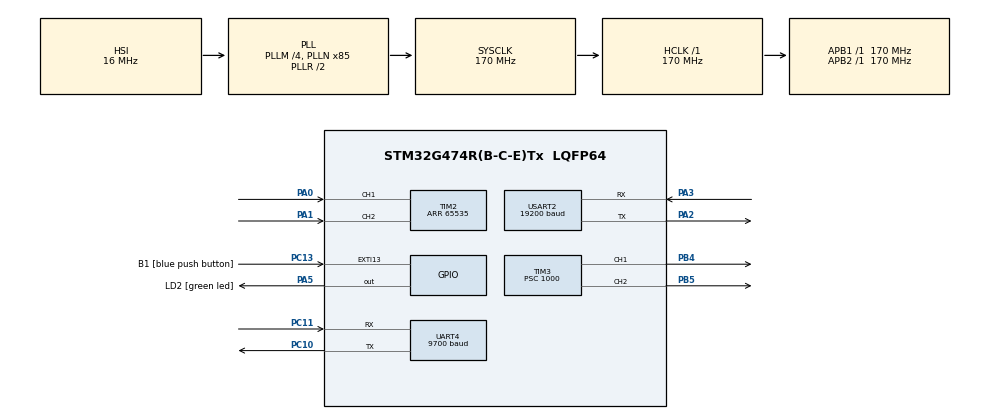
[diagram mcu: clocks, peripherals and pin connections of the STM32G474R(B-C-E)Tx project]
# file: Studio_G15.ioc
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ARM.CMSIS-DSP.1.15.0.CMSISJjDSP=Source
ARM.CMSIS.6.0.0.CMSISJjCORE=true
Dma.Request0=USART2_TX
Dma.Request1=USART2_RX
Dma.USART2_RX.1.Direction=DMA_PERIPH_TO_MEMORY
Dma.USART2_RX.1.EventEnable=DISABLE
Dma.USART2_RX.1.Instance=DMA1_Channel2
Dma.USART2_RX.1.MemDataAlignment=DMA_MDATAALIGN_BYTE
Dma.USART2_RX.1.MemInc=DMA_MINC_ENABLE
Dma.USART2_RX.1.Mode=DMA_NORMAL
Dma.USART2_RX.1.PeriphDataAlignment=DMA_PDATAALIGN_BYTE
Dma.USART2_RX.1.PeriphInc=DMA_PINC_DISABLE
Dma.USART2_RX.1.Polarity=HAL_DMAMUX_REQ_GEN_RISING
Dma.USART2_RX.1.Priority=DMA_PRIORITY_LOW
Dma.USART2_RX.1.RequestNumber=1
Dma.USART2_RX.1.SignalID=NONE
Dma.USART2_RX.1.SyncEnable=DISABLE
Dma.USART2_RX.1.SyncPolarity=HAL_DMAMUX_SYNC_NO_EVENT
Dma.USART2_RX.1.SyncRequestNumber=1
Dma.USART2_RX.1.SyncSignalID=NONE
Dma.USART2_TX.0.Direction=DMA_MEMORY_TO_PERIPH
Dma.USART2_TX.0.EventEnable=DISABLE
Dma.USART2_TX.0.Instance=DMA1_Channel1
Dma.USART2_TX.0.MemDataAlignment=DMA_MDATAALIGN_BYTE
Dma.USART2_TX.0.MemInc=DMA_MINC_ENABLE
Dma.USART2_TX.0.Mode=DMA_NORMAL
Dma.USART2_TX.0.PeriphDataAlignment=DMA_PDATAALIGN_BYTE
Dma.USART2_TX.0.PeriphInc=DMA_PINC_DISABLE
Dma.USART2_TX.0.Polarity=HAL_DMAMUX_REQ_GEN_RISING
Dma.USART2_TX.0.Priority=DMA_PRIORITY_LOW
Dma.USART2_TX.0.RequestNumber=1
Dma.USART2_TX.0.SignalID=NONE
Dma.USART2_TX.0.SyncEnable=DISABLE
Dma.USART2_TX.0.SyncPolarity=HAL_DMAMUX_SYNC_NO_EVENT
Dma.USART2_TX.0.SyncRequestNumber=1
Dma.USART2_TX.0.SyncSignalID=NONE
Mcu.Family=STM32G4
Mcu.Name=STM32G474R(B-C-E)Tx
Mcu.Package=LQFP64
NVIC.DMA1_Channel1_IRQn=true\:0\:0\:false\:false\:true\:false\:true\:true
NVIC.DMA1_Channel2_IRQn=true\:0\:0\:false\:false\:true\:false\:true\:true
NVIC.EXTI15_10_IRQn=true\:0\:0\:false\:false\:true\:true\:true\:true
NVIC.PriorityGroup=NVIC_PRIORITYGROUP_4
NVIC.TIM1_UP_TIM16_IRQn=true\:0\:0\:false\:false\:true\:true\:true\:true
NVIC.TIM4_IRQn=true\:0\:0\:false\:false\:true\:true\:true\:true
NVIC.TIM5_IRQn=true\:0\:0\:false\:false\:true\:true\:true\:true
NVIC.USART2_IRQn=true\:0\:0\:false\:false\:true\:true\:true\:true
PA0.Signal=S_TIM2_CH1
PA1.Signal=S_TIM2_CH2
PA13.GPIO_Label=T_SWDIO
PA13.Mode=Serial_Wire
PA13.Signal=SYS_JTMS-SWDIO
PA14.GPIO_Label=T_SWCLK
PA14.Mode=Serial_Wire
PA14.Signal=SYS_JTCK-SWCLK
PA2.Mode=Asynchronous
PA2.Signal=USART2_TX
PA3.Mode=Asynchronous
PA3.Signal=USART2_RX
PA5.GPIO_Label=LD2 [green led]
PA5.Signal=GPIO_Output
PB3.GPIO_Label=T_SWO
PB3.Signal=SYS_JTDO-SWO
PB4.Signal=S_TIM3_CH1
PB5.Signal=S_TIM3_CH2
PC10.Mode=Asynchronous
PC10.Signal=UART4_TX
PC11.Mode=Asynchronous
PC11.Signal=UART4_RX
PC13.GPIO_Label=B1 [blue push button]
PC13.Signal=GPXTI13
PC14-OSC32_IN.Mode=LSE-External-Oscillator
PC14-OSC32_IN.Signal=RCC_OSC32_IN
PC15-OSC32_OUT.Mode=LSE-External-Oscillator
PC15-OSC32_OUT.Signal=RCC_OSC32_OUT
PF0-OSC_IN.Mode=HSE-External-Oscillator
PF0-OSC_IN.Signal=RCC_OSC_IN
PF1-OSC_OUT.Mode=HSE-External-Oscillator
PF1-OSC_OUT.Signal=RCC_OSC_OUT
ProjectManager.HeapSize=0x200
ProjectManager.StackSize=0x400
ProjectManager.TargetToolchain=STM32CubeIDE
RCC.ADC12Freq_Value=170000000
RCC.ADC345Freq_Value=170000000
RCC.AHBFreq_Value=170000000
RCC.APB1Freq_Value=170000000
RCC.APB1TimFreq_Value=170000000
RCC.APB2Freq_Value=170000000
RCC.APB2TimFreq_Value=170000000
RCC.CortexFreq_Value=170000000
RCC.EXTERNAL_CLOCK_VALUE=12288000
RCC.HCLKFreq_Value=170000000
RCC.HSE_VALUE=24000000
RCC.HSI48_VALUE=48000000
RCC.HSI_VALUE=16000000
RCC.PLLM=RCC_PLLM_DIV4
RCC.PLLN=85
RCC.RTCClockSelection=RCC_RTCCLKSOURCE_LSE
RCC.SYSCLKFreq_VALUE=170000000
RCC.SYSCLKSource=RCC_SYSCLKSOURCE_PLLCLK
RCC.USBFreq_Value=170000000
RCC.VCOOutputFreq_Value=340000000
SH.S_TIM2_CH1.0=TIM2_CH1,Encoder_Interface
SH.S_TIM2_CH2.0=TIM2_CH2,Encoder_Interface
SH.S_TIM3_CH1.0=TIM3_CH1,PWM Generation1 CH1
SH.S_TIM3_CH2.0=TIM3_CH2,PWM Generation2 CH2
TIM16.PeriodNoDither=1145
TIM16.Prescaler=169
TIM2.EncoderMode=TIM_ENCODERMODE_TI12
TIM2.PeriodNoDither=65535
TIM3.Channel-PWM\ Generation1\ CH1=TIM_CHANNEL_1
TIM3.Channel-PWM\ Generation2\ CH2=TIM_CHANNEL_2
TIM3.PeriodNoDither=169
TIM3.Prescaler=1000
TIM4.PeriodNoDither=19999
TIM4.Prescaler=1699
TIM5.Prescaler=169
UART4.BaudRate=9700
UART4.RXFIFOThreshold=RXFIFO_THRESHOLD_FULL
USART2.BaudRate=19200
USART2.Parity=PARITY_EVEN
USART2.VirtualMode-Asynchronous=VM_ASYNC
USART2.WordLength=WORDLENGTH_9B
VP_ARM.CMSIS-DSP_VS_CMSISJjDSP_1.15.0_1.15.0.Mode=CMSISJjDSP
VP_ARM.CMSIS_VS_CMSISJjCORE_6.0.0_6.0.0.Mode=CMSISJjCORE
VP_SYS_VS_DBSignals.Mode=DisableDeadBatterySignals
VP_TIM16_VS_ClockSourceINT.Mode=Enable_Timer
VP_TIM16_VS_OPM.Mode=OPM_bit
VP_TIM3_VS_ClockSourceINT.Mode=Internal
VP_TIM4_VS_ClockSourceINT.Mode=Internal
VP_TIM5_VS_ClockSourceINT.Mode=Internal
board=NUCLEO-G474RE

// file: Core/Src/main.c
/* USER CODE BEGIN Header */
/**
  ******************************************************************************
  * @file           : main.c
  * @brief          : Main program body
  ******************************************************************************
  * @attention
  *
  * Copyright (c) 2024 STMicroelectronics.
  * All rights reserved.
  *
  * This software is licensed under terms that can be found in the LICENSE file
  * in the root directory of this software component.
  * If no LICENSE file comes with this software, it is provided AS-IS.
  *
  ******************************************************************************
  */
/* USER CODE END Header */
#include "main.h"

/* USER CODE BEGIN Includes */
#include "arm_math.h"
#include "ModBusRTU.h"
#include "BaseSystem.h"

/* USER CODE END Includes */

TIM_HandleTypeDef htim2;
TIM_HandleTypeDef htim3;
TIM_HandleTypeDef htim4;
TIM_HandleTypeDef htim5;
TIM_HandleTypeDef htim16;

UART_HandleTypeDef huart4;
UART_HandleTypeDef huart2;
DMA_HandleTypeDef hdma_usart2_tx;
DMA_HandleTypeDef hdma_usart2_rx;

/* USER CODE BEGIN PV */
ModbusHandleTypedef hmodbus;
u16u8_t registerFrame[200];

int num[10]= {48,49,50,51,52,53,54,55,56,57};
int count = 1;
typedef struct{
	uint8_t ps2RX[10];
	int digit;
	int gain[3];
	int ps2Y;
	int ps2YPos;
	int floor[5];
	int r[6];
	int l[6];
	int pwmOut;
	int mode;
	int stop;
	int counts;
//	int ps2X;
//	int ps2XPos;
//	int H[];
}Ps2s;
Ps2s ps2;

uint8_t data_packet[4] = {0x45, 0,0, 0x0A};
float pwm = 41.67;
typedef struct{
	uint32_t start;
	uint32_t i;
	uint32_t j;
	uint32_t velo[34000];
}Idens;
Idens iden;

typedef struct{
	// for record New / Old value to calculate dx / dt
	uint32_t Position[2];
	uint64_t TimeStamp[2];
	float QEIPostion_1turn;
	int QEIAngularVelocity;
}QEI_StructureTypeDef;
QEI_StructureTypeDef QEIdata = {0};
uint64_t _micros = 0;
enum{
	NEW,OLD
};
/* USER CODE END PV */

void SystemClock_Config(void);
static void MX_GPIO_Init(void);
static void MX_DMA_Init(void);
static void MX_TIM2_Init(void);
static void MX_TIM3_Init(void);
static void MX_TIM5_Init(void);
static void MX_UART4_Init(void);
static void MX_TIM4_Init(void);
static void MX_USART2_UART_Init(void);
static void MX_TIM16_Init(void);
/* USER CODE BEGIN PFP */
uint64_t micro();
void QEIEncoderPosVel_Update();
void SystemIden();
void QEIEncoder();
void PS2X_Reader();
/* USER CODE END PFP */

int main(void)
{

  /* MCU Configuration--------------------------------------------------------*/

  /* Reset of all peripherals, Initializes the Flash interface and the Systick. */
  HAL_Init();

  /* Configure the system clock */
  SystemClock_Config();

  /* Initialize all configured peripherals */
  MX_GPIO_Init();
  MX_DMA_Init();
  MX_TIM2_Init();
  MX_TIM3_Init();
  MX_TIM5_Init();
  MX_UART4_Init();
  MX_TIM4_Init();
  MX_USART2_UART_Init();
  MX_TIM16_Init();
  /* USER CODE BEGIN 2 */
  HAL_TIM_Base_Start_IT(&htim4);
  HAL_TIM_Base_Start_IT(&htim5);
  hmodbus.huart = &huart2;
  hmodbus.htim = &htim16;
  hmodbus.slaveAddress = 0x15;
  hmodbus.RegisterSize =200;
  Modbus_init(&hmodbus, registerFrame);
  /* USER CODE END 2 */

  /* Infinite loop */
  while (1)
  {

    /* USER CODE BEGIN 3 */
	  //Modbus
	  easyCase();
	  switch(base.bS){
	  case 1:
		  base.bStatus = 4;
		  SetShelves();
		  base.bS = 0;
		  break;
	  case 2:
		  base.bStatus = 4;
		  SetHome();
		  base.bS = 0;
		  break;
	  case 4:
		  base.bStatus = 4;
		  RunJog();
		  base.bS = 0;
		  break;
	  case 8:
		  base.bStatus = 8;
		  RunPoint();
		  base.bS = 0;
		  break;
	  default:
		  registerFrame[0x01].U16 = 0;;
	  }

	  switch(base.vS){
	  case 0:
		  base.Vacuum = 0;
		  break;
	  case 1:
		  base.Vacuum = 1;
		  break;
	  }

	  switch(base.gmS){
	  case 0:
		  base.Gripper = 0;
		  break;
	  case 1:
		  base.Gripper = 1;
		  break;
	  }

	  Modbus_Protocal_Worker();
	  Routine();
	  //--

	  //Ps2
	  HAL_UART_Receive(&huart4,ps2.ps2RX, 10 ,10);
	  if(ps2.ps2RX[0] == 74){
		  ps2.stop = 1;
	  }
	  if (ps2.stop == 1 && ps2.ps2RX[0] == 75){
		  ps2.stop = 0;
		  __HAL_TIM_SET_COMPARE(&htim3, TIM_CHANNEL_1, 0);		//Stop
		  __HAL_TIM_SET_COMPARE(&htim3, TIM_CHANNEL_2, 0);
		  ps2.pwmOut = 0;
	  }
	  else if(ps2.stop == 0){
		  PS2X_Reader();
	  }
	  //--
  }
  /* USER CODE END 3 */
}

void SystemClock_Config(void)
{
  RCC_OscInitTypeDef RCC_OscInitStruct = {0};
  RCC_ClkInitTypeDef RCC_ClkInitStruct = {0};

  /** Configure the main internal regulator output voltage
  */
  HAL_PWREx_ControlVoltageScaling(PWR_REGULATOR_VOLTAGE_SCALE1_BOOST);

  /** Initializes the RCC Oscillators according to the specified parameters
  * in the RCC_OscInitTypeDef structure.
  */
  RCC_OscInitStruct.OscillatorType = RCC_OSCILLATORTYPE_HSI;
  RCC_OscInitStruct.HSIState = RCC_HSI_ON;
  RCC_OscInitStruct.HSICalibrationValue = RCC_HSICALIBRATION_DEFAULT;
  RCC_OscInitStruct.PLL.PLLState = RCC_PLL_ON;
  RCC_OscInitStruct.PLL.PLLSource = RCC_PLLSOURCE_HSI;
  RCC_OscInitStruct.PLL.PLLM = RCC_PLLM_DIV4;
  RCC_OscInitStruct.PLL.PLLN = 85;
  RCC_OscInitStruct.PLL.PLLP = RCC_PLLP_DIV2;
  RCC_OscInitStruct.PLL.PLLQ = RCC_PLLQ_DIV2;
  RCC_OscInitStruct.PLL.PLLR = RCC_PLLR_DIV2;
  if (HAL_RCC_OscConfig(&RCC_OscInitStruct) != HAL_OK)
  {
    Error_Handler();
  }

  /** Initializes the CPU, AHB and APB buses clocks
  */
  RCC_ClkInitStruct.ClockType = RCC_CLOCKTYPE_HCLK|RCC_CLOCKTYPE_SYSCLK
                              |RCC_CLOCKTYPE_PCLK1|RCC_CLOCKTYPE_PCLK2;
  RCC_ClkInitStruct.SYSCLKSource = RCC_SYSCLKSOURCE_PLLCLK;
  RCC_ClkInitStruct.AHBCLKDivider = RCC_SYSCLK_DIV1;
  RCC_ClkInitStruct.APB1CLKDivider = RCC_HCLK_DIV1;
  RCC_ClkInitStruct.APB2CLKDivider = RCC_HCLK_DIV1;

  if (HAL_RCC_ClockConfig(&RCC_ClkInitStruct, FLASH_LATENCY_4) != HAL_OK)
  {
    Error_Handler();
  }
}

static void MX_TIM2_Init(void)
{

  TIM_Encoder_InitTypeDef sConfig = {0};
  TIM_MasterConfigTypeDef sMasterConfig = {0};

  htim2.Instance = TIM2;
  htim2.Init.Prescaler = 0;
  htim2.Init.CounterMode = TIM_COUNTERMODE_UP;
  htim2.Init.Period = 65535;
  htim2.Init.ClockDivision = TIM_CLOCKDIVISION_DIV1;
  htim2.Init.AutoReloadPreload = TIM_AUTORELOAD_PRELOAD_DISABLE;
  sConfig.EncoderMode = TIM_ENCODERMODE_TI12;
  sConfig.IC1Polarity = TIM_ICPOLARITY_RISING;
  sConfig.IC1Selection = TIM_ICSELECTION_DIRECTTI;
  sConfig.IC1Prescaler = TIM_ICPSC_DIV1;
  sConfig.IC1Filter = 0;
  sConfig.IC2Polarity = TIM_ICPOLARITY_RISING;
  sConfig.IC2Selection = TIM_ICSELECTION_DIRECTTI;
  sConfig.IC2Prescaler = TIM_ICPSC_DIV1;
  sConfig.IC2Filter = 0;
  if (HAL_TIM_Encoder_Init(&htim2, &sConfig) != HAL_OK)
  {
    Error_Handler();
  }
  sMasterConfig.MasterOutputTrigger = TIM_TRGO_RESET;
  sMasterConfig.MasterSlaveMode = TIM_MASTERSLAVEMODE_DISABLE;
  if (HAL_TIMEx_MasterConfigSynchronization(&htim2, &sMasterConfig) != HAL_OK)
  {
    Error_Handler();
  }

}

static void MX_TIM3_Init(void)
{

  TIM_ClockConfigTypeDef sClockSourceConfig = {0};
  TIM_MasterConfigTypeDef sMasterConfig = {0};
  TIM_OC_InitTypeDef sConfigOC = {0};

  htim3.Instance = TIM3;
  htim3.Init.Prescaler = 1000;
  htim3.Init.CounterMode = TIM_COUNTERMODE_UP;
  htim3.Init.Period = 169;
  htim3.Init.ClockDivision = TIM_CLOCKDIVISION_DIV1;
  htim3.Init.AutoReloadPreload = TIM_AUTORELOAD_PRELOAD_DISABLE;
  if (HAL_TIM_Base_Init(&htim3) != HAL_OK)
  {
    Error_Handler();
  }
  sClockSourceConfig.ClockSource = TIM_CLOCKSOURCE_INTERNAL;
  if (HAL_TIM_ConfigClockSource(&htim3, &sClockSourceConfig) != HAL_OK)
  {
    Error_Handler();
  }
  if (HAL_TIM_PWM_Init(&htim3) != HAL_OK)
  {
    Error_Handler();
  }
  sMasterConfig.MasterOutputTrigger = TIM_TRGO_RESET;
  sMasterConfig.MasterSlaveMode = TIM_MASTERSLAVEMODE_DISABLE;
  if (HAL_TIMEx_MasterConfigSynchronization(&htim3, &sMasterConfig) != HAL_OK)
  {
    Error_Handler();
  }
  sConfigOC.OCMode = TIM_OCMODE_PWM1;
  sConfigOC.Pulse = 0;
  sConfigOC.OCPolarity = TIM_OCPOLARITY_HIGH;
  sConfigOC.OCFastMode = TIM_OCFAST_DISABLE;
  if (HAL_TIM_PWM_ConfigChannel(&htim3, &sConfigOC, TIM_CHANNEL_1) != HAL_OK)
  {
    Error_Handler();
  }
  if (HAL_TIM_PWM_ConfigChannel(&htim3, &sConfigOC, TIM_CHANNEL_2) != HAL_OK)
  {
    Error_Handler();
  }
  HAL_TIM_MspPostInit(&htim3);

}

static void MX_TIM4_Init(void)
{

  TIM_ClockConfigTypeDef sClockSourceConfig = {0};
  TIM_MasterConfigTypeDef sMasterConfig = {0};

  htim4.Instance = TIM4;
  htim4.Init.Prescaler = 1699;
  htim4.Init.CounterMode = TIM_COUNTERMODE_UP;
  htim4.Init.Period = 19999;
  htim4.Init.ClockDivision = TIM_CLOCKDIVISION_DIV1;
  htim4.Init.AutoReloadPreload = TIM_AUTORELOAD_PRELOAD_DISABLE;
  if (HAL_TIM_Base_Init(&htim4) != HAL_OK)
  {
    Error_Handler();
  }
  sClockSourceConfig.ClockSource = TIM_CLOCKSOURCE_INTERNAL;
  if (HAL_TIM_ConfigClockSource(&htim4, &sClockSourceConfig) != HAL_OK)
  {
    Error_Handler();
  }
  sMasterConfig.MasterOutputTrigger = TIM_TRGO_RESET;
  sMasterConfig.MasterSlaveMode = TIM_MASTERSLAVEMODE_DISABLE;
  if (HAL_TIMEx_MasterConfigSynchronization(&htim4, &sMasterConfig) != HAL_OK)
  {
    Error_Handler();
  }

}

static void MX_TIM5_Init(void)
{

  TIM_ClockConfigTypeDef sClockSourceConfig = {0};
  TIM_MasterConfigTypeDef sMasterConfig = {0};

  htim5.Instance = TIM5;
  htim5.Init.Prescaler = 169;
  htim5.Init.CounterMode = TIM_COUNTERMODE_UP;
  htim5.Init.Period = 4294967295;
  htim5.Init.ClockDivision = TIM_CLOCKDIVISION_DIV1;
  htim5.Init.AutoReloadPreload = TIM_AUTORELOAD_PRELOAD_DISABLE;
  if (HAL_TIM_Base_Init(&htim5) != HAL_OK)
  {
    Error_Handler();
  }
  sClockSourceConfig.ClockSource = TIM_CLOCKSOURCE_INTERNAL;
  if (HAL_TIM_ConfigClockSource(&htim5, &sClockSourceConfig) != HAL_OK)
  {
    Error_Handler();
  }
  sMasterConfig.MasterOutputTrigger = TIM_TRGO_RESET;
  sMasterConfig.MasterSlaveMode = TIM_MASTERSLAVEMODE_DISABLE;
  if (HAL_TIMEx_MasterConfigSynchronization(&htim5, &sMasterConfig) != HAL_OK)
  {
    Error_Handler();
  }

}

static void MX_TIM16_Init(void)
{

  htim16.Instance = TIM16;
  htim16.Init.Prescaler = 169;
  htim16.Init.CounterMode = TIM_COUNTERMODE_UP;
  htim16.Init.Period = 1145;
  htim16.Init.ClockDivision = TIM_CLOCKDIVISION_DIV1;
  htim16.Init.RepetitionCounter = 0;
  htim16.Init.AutoReloadPreload = TIM_AUTORELOAD_PRELOAD_DISABLE;
  if (HAL_TIM_Base_Init(&htim16) != HAL_OK)
  {
    Error_Handler();
  }
  if (HAL_TIM_OnePulse_Init(&htim16, TIM_OPMODE_SINGLE) != HAL_OK)
  {
    Error_Handler();
  }

}

static void MX_UART4_Init(void)
{

  huart4.Instance = UART4;
  huart4.Init.BaudRate = 9700;
  huart4.Init.WordLength = UART_WORDLENGTH_8B;
  huart4.Init.StopBits = UART_STOPBITS_1;
  huart4.Init.Parity = UART_PARITY_NONE;
  huart4.Init.Mode = UART_MODE_TX_RX;
  huart4.Init.HwFlowCtl = UART_HWCONTROL_NONE;
  huart4.Init.OverSampling = UART_OVERSAMPLING_16;
  huart4.Init.OneBitSampling = UART_ONE_BIT_SAMPLE_DISABLE;
  huart4.Init.ClockPrescaler = UART_PRESCALER_DIV1;
  huart4.AdvancedInit.AdvFeatureInit = UART_ADVFEATURE_NO_INIT;
  if (HAL_UART_Init(&huart4) != HAL_OK)
  {
    Error_Handler();
  }
  if (HAL_UARTEx_SetTxFifoThreshold(&huart4, UART_TXFIFO_THRESHOLD_1_8) != HAL_OK)
  {
    Error_Handler();
  }
  if (HAL_UARTEx_SetRxFifoThreshold(&huart4, UART_RXFIFO_THRESHOLD_8_8) != HAL_OK)
  {
    Error_Handler();
  }
  if (HAL_UARTEx_DisableFifoMode(&huart4) != HAL_OK)
  {
    Error_Handler();
  }

}

static void MX_USART2_UART_Init(void)
{

  huart2.Instance = USART2;
  huart2.Init.BaudRate = 19200;
  huart2.Init.WordLength = UART_WORDLENGTH_9B;
  huart2.Init.StopBits = UART_STOPBITS_1;
  huart2.Init.Parity = UART_PARITY_EVEN;
  huart2.Init.Mode = UART_MODE_TX_RX;
  huart2.Init.HwFlowCtl = UART_HWCONTROL_NONE;
  huart2.Init.OverSampling = UART_OVERSAMPLING_16;
  huart2.Init.OneBitSampling = UART_ONE_BIT_SAMPLE_DISABLE;
  huart2.Init.ClockPrescaler = UART_PRESCALER_DIV1;
  huart2.AdvancedInit.AdvFeatureInit = UART_ADVFEATURE_NO_INIT;
  if (HAL_UART_Init(&huart2) != HAL_OK)
  {
    Error_Handler();
  }
  if (HAL_UARTEx_SetTxFifoThreshold(&huart2, UART_TXFIFO_THRESHOLD_1_8) != HAL_OK)
  {
    Error_Handler();
  }
  if (HAL_UARTEx_SetRxFifoThreshold(&huart2, UART_RXFIFO_THRESHOLD_1_8) != HAL_OK)
  {
    Error_Handler();
  }
  if (HAL_UARTEx_DisableFifoMode(&huart2) != HAL_OK)
  {
    Error_Handler();
  }

}

static void MX_DMA_Init(void)
{

  /* DMA controller clock enable */
  __HAL_RCC_DMAMUX1_CLK_ENABLE();
  __HAL_RCC_DMA1_CLK_ENABLE();

  /* DMA interrupt init */
  /* DMA1_Channel1_IRQn interrupt configuration */
  HAL_NVIC_SetPriority(DMA1_Channel1_IRQn, 0, 0);
  HAL_NVIC_EnableIRQ(DMA1_Channel1_IRQn);
  /* DMA1_Channel2_IRQn interrupt configuration */
  HAL_NVIC_SetPriority(DMA1_Channel2_IRQn, 0, 0);
  HAL_NVIC_EnableIRQ(DMA1_Channel2_IRQn);

}

static void MX_GPIO_Init(void)
{
  GPIO_InitTypeDef GPIO_InitStruct = {0};

  /* GPIO Ports Clock Enable */
  __HAL_RCC_GPIOC_CLK_ENABLE();
  __HAL_RCC_GPIOF_CLK_ENABLE();
  __HAL_RCC_GPIOA_CLK_ENABLE();
  __HAL_RCC_GPIOB_CLK_ENABLE();

  /*Configure GPIO pin Output Level */
  HAL_GPIO_WritePin(LD2_GPIO_Port, LD2_Pin, GPIO_PIN_RESET);

  /*Configure GPIO pin : B1_Pin */
  GPIO_InitStruct.Pin = B1_Pin;
  GPIO_InitStruct.Mode = GPIO_MODE_IT_RISING;
  GPIO_InitStruct.Pull = GPIO_NOPULL;
  HAL_GPIO_Init(B1_GPIO_Port, &GPIO_InitStruct);

  /*Configure GPIO pin : LD2_Pin */
  GPIO_InitStruct.Pin = LD2_Pin;
  GPIO_InitStruct.Mode = GPIO_MODE_OUTPUT_PP;
  GPIO_InitStruct.Pull = GPIO_NOPULL;
  GPIO_InitStruct.Speed = GPIO_SPEED_FREQ_LOW;
  HAL_GPIO_Init(LD2_GPIO_Port, &GPIO_InitStruct);

  /* EXTI interrupt init*/
  HAL_NVIC_SetPriority(EXTI15_10_IRQn, 0, 0);
  HAL_NVIC_EnableIRQ(EXTI15_10_IRQn);

}

/* USER CODE BEGIN 4 */

void HAL_TIM_PeriodElapsedCallback(TIM_HandleTypeDef *htim)
	{
		if(htim == &htim5)
			{
			_micros += UINT32_MAX;
			}
		if(htim == &htim4)
		{
			 Heartbeat();
		}
	}

uint64_t micros()
	{
		return __HAL_TIM_GET_COUNTER(&htim5)+_micros;
	}

void QEIEncoderPosVel_Update()
	{
		//collect data
		QEIdata.TimeStamp[NEW] = micros();
		QEIdata.Position[NEW] = __HAL_TIM_GET_COUNTER(&htim2);
		//Postion 1 turn calculation
		QEIdata.QEIPostion_1turn = QEIdata.Position[NEW] % 8192;
		//calculate dx
		int32_t diffPosition = QEIdata.Position[NEW] - QEIdata.Position[OLD];
		//Handle Warp around
		if(diffPosition > 32256)
			diffPosition -=64512;
		if(diffPosition < -32256)
			diffPosition +=64512;
		//calculate dt
		float diffTime = (QEIdata.TimeStamp[NEW]-QEIdata.TimeStamp[OLD]) * 0.000001;
		//calculate anglar velocity
		QEIdata.QEIAngularVelocity = ((diffPosition/8192.0)*60) / diffTime;
		//store value for next loop
		QEIdata.Position[OLD] = QEIdata.Position[NEW];
		QEIdata.TimeStamp[OLD]=QEIdata.TimeStamp[NEW];
}
void PS2X_Reader()
{
//	ps2.ps2Y = 0;
//	ps2.ps2X = 0;
	if (ps2.ps2RX[0] == 69) 		//Press L4 to switch to use Joy stick
	{
		ps2.mode = 1;
//		ps2.ps2YPos = 132;
	}
	if (ps2.ps2RX[0] == 70)		//Press L5 to switch to use Button
	{
		ps2.mode = 2;
	}
	//Mode Joy stick
	if (ps2.mode == 1)
	{
		//Read Ps2 Joy stick in VERTICAL
		if(ps2.ps2RX[0] == 81){
			if (ps2.ps2RX[2] == 83){
				ps2.digit = 1;
			}
			else if (ps2.ps2RX[3] == 83){
				ps2.digit = 2;
			}
			else if (ps2.ps2RX[4] == 83){
				ps2.digit = 3;
			}
			for(int k=1 ; k<5 ; k++){
				for (int l=0; l<10 ; l++){
					if (ps2.ps2RX[k] == num[l]){
						ps2.gain[k-1] = l;
					}
				}
			}
			if (ps2.digit == 1){
				ps2.ps2YPos = ps2.gain[0];
			}
			else if (ps2.digit == 2){
				ps2.ps2YPos = (ps2.gain[0]*10)+ps2.gain[1];
			}
			else if (ps2.digit == 3){
				ps2.ps2YPos = (ps2.gain[0]*100)+(ps2.gain[1]*10)+ps2.gain[2];
			}
////				OLD CODE DIDNT USE
//			  //Read Ps2 Joy stick in HORIZON
//			  if (ps2.ps2RX[0] == 83 && ps2.ps2RX[2] == 13)
//			  {
//				  for (int i = 0; i < 10 ; i++)
//				  {
//					  if (ps2.ps2RX[1]==num[i])
//					  {
//						  ps2.H[0] = i;
//					  }
//				  }
//				  ps2.ps2XPos = ps2.H[0];
//			  }
//			  else if (ps2.ps2RX[0] == 83 && ps2.ps2RX[3] == 13)
//			  {
//				  for (int i = 0; i < 10 ; i++)
//				  {
//					  if (ps2.ps2RX[1]==num[i])
//					  {
//						  ps2.H[0] = i;
//					  }
//					  if (ps2.ps2RX[2]==num[i])
//					  {
//						  ps2.H[1] = i;
//					  }
//				  }
//				  ps2.ps2XPos = (ps2.H[0]*10)+ps2.H[1];
//			  }
//			  else if (ps2.ps2RX[0] == 83 && ps2.ps2RX[4] == 13)
//			  {
//				  for (int i = 0; i < 10 ; i++)
//				  {
//					  if (ps2.ps2RX[1]==num[i])
//					  {
//						  ps2.H[0] = i;
//					  }
//					  if (ps2.ps2RX[2]==num[i])
//					  {
//						  ps2.H[1] = i;
//					  }
//					  if (ps2.ps2RX[3]==num[i])
//					  {
//						  ps2.H[2] = i;
//					  }
//				  }
//				  ps2.ps2XPos = (ps2.H[0]*100)+(ps2.H[1]*10)+ps2.H[2];
//			  }
		}

		//Convert from 0 - 255 to -128 - 128
		ps2.ps2Y = ps2.ps2YPos - 132;
//		ps2.ps2X = ps2.ps2XPos - 132;

		//Generate PWM
		ps2.pwmOut = (ps2.ps2Y/ 128.0)*300;
		if (ps2.pwmOut > 300)
		{
			ps2.pwmOut = 300;
		}
		if (ps2.pwmOut < -300)
		{
			ps2.pwmOut = -300;
		}
		if (ps2.pwmOut < 0)
		{
			ps2.pwmOut = ps2.pwmOut * -1;
			__HAL_TIM_SET_COMPARE(&htim3, TIM_CHANNEL_2, 0);		//PWM out Backward
		}
		else if (ps2.pwmOut > 0)
		{
			__HAL_TIM_SET_COMPARE(&htim3, TIM_CHANNEL_2, 1000);		//PWM out forward
		}
		__HAL_TIM_SET_COMPARE(&htim3, TIM_CHANNEL_1, ps2.pwmOut);
	}

	//--- Mode Button ---//
	else if (ps2.mode == 2)
	{
		ps2.ps2Y = 0;
//		ps2.ps2X = 0;
		//Keys Map
		static uint32_t timestamp =0;
		if(timestamp < HAL_GetTick())
		{
			timestamp = HAL_GetTick()+100;
			ps2.ps2RX[0] = 0;
		}
		for (int i =0;i<6;i++)
		{
			if (ps2.ps2RX[0] == 0)
			{
				//Left
				ps2.l[0] = 0; //w
				ps2.l[1] = 0;	//a
				ps2.l[2] = 0;	//s
				ps2.l[3] = 0;	//d
				ps2.l[4] = 0;	//l1
				ps2.l[5] = 0;	//l2
				//Right
				ps2.r[0] = 0;	//w
				ps2.r[1] = 0;	//a
				ps2.r[2] = 0;	//s
				ps2.r[3] = 0;	//d
				ps2.r[4] = 0;	//r1
				ps2.r[5] = 0;	//r2
			}

			if (ps2.ps2RX[0] - 65 == i)
			{
				ps2.l[i] = 1;
			}

			else if (ps2.ps2RX[0] - 73 == i)
			{
				ps2.r[i] = 1;
			}
		}

		//Generate PWM
		if (ps2.l[2] == 1)
		{
			ps2.pwmOut = ps2.pwmOut - count;	// - PWM with x
			if (ps2.pwmOut < 0)
			{
				ps2.pwmOut = 0;		// to make pwm1 >= 0
			}
		}
		else if (ps2.l[3] == 1)
		{
			ps2.pwmOut = ps2.pwmOut + count;	// + PWM with count
		}
		else if (ps2.l[0] == 1)		//Press down button(l1) to PWM out forward
		{
			__HAL_TIM_SET_COMPARE(&htim3, TIM_CHANNEL_1, ps2.pwmOut);
			__HAL_TIM_SET_COMPARE(&htim3, TIM_CHANNEL_2, 0);
		}
		else if (ps2.l[1] == 1)		//Press down button(l1) to PWM out backward
		{
			__HAL_TIM_SET_COMPARE(&htim3, TIM_CHANNEL_1, ps2.pwmOut);
			__HAL_TIM_SET_COMPARE(&htim3, TIM_CHANNEL_2, 1000);
		}
		else if (ps2.r[1] == 1)		//Press X(r1) to stop
		{
			__HAL_TIM_SET_COMPARE(&htim3, TIM_CHANNEL_1, 0);		//Stop
			__HAL_TIM_SET_COMPARE(&htim3, TIM_CHANNEL_2, 0);
		}
	}
	//Floor Seclection
	if(base.ShelveMode == 1){
		if (ps2.ps2RX[0] == 71){
			base.Shelve[ps2.counts] = 1+ps2.counts;
			ps2.counts=  +1;
		}
		else if (ps2.ps2RX[0] == 73){
			base.Shelve[ps2.counts-1] = 0;
			ps2.counts = ps2.counts -1;
		}

		if (ps2.ps2RX[0] == 72 && base.ShelveMode == 1){
			base.ShelveMode = 0;
			registerFrame[0x10].U16 = 0b0000;
		}
	}

}
void QEIEncoder(){
//  	  QEIReadRaw = __HAL_TIM_GET_COUNTER(&htim2); // Encoder QEI
  	  static uint64_t timestamps =0;
  	  int64_t currentTime = micros();

  	  if(currentTime > timestamps)
  	  {
  		  timestamps = currentTime + 100000;//us
  		  QEIEncoderPosVel_Update();
  	  }
}
void SystemIden(){
	  if (iden.start == 1){
		static uint32_t timestamp =0;
		if(timestamp < HAL_GetTick())
		{
		  timestamp = HAL_GetTick()+0.5;

		  iden.velo[iden.i] = QEIdata.QEIAngularVelocity;

		  data_packet[1] = (uint8_t)(QEIdata.QEIAngularVelocity & 0x00FF); // Mask with 0x00FF to get LSB
		  data_packet[2]  = (uint8_t)(QEIdata.QEIAngularVelocity >> 8)& 0x00FF; // Shift right 8 bits to get MSB

		  // Transmit data over UART
		  for (int i = 0; i < sizeof(data_packet); i++)
		  {
//			HAL_UART_Transmit(&hlpuart1, &data_packet[i], 1, 5);
		  }

		  /// j = 1
		  if (iden.i == (iden.j*2000)){
			  iden.j++;
		  }

		  if ((iden.j%2) == 0){
			  __HAL_TIM_SET_COMPARE(&htim3, TIM_CHANNEL_1, (iden.j/2)*3*pwm);
			  __HAL_TIM_SET_COMPARE(&htim3, TIM_CHANNEL_2, 0);
		  }

		  if ((iden.j%2) == 1){
			  __HAL_TIM_SET_COMPARE(&htim3, TIM_CHANNEL_1, 0);
		  }
		  if (iden.j == 18){
			  __HAL_TIM_SET_COMPARE(&htim3, TIM_CHANNEL_1, 0);
		  }
		  iden.i++;
		}
	  }
}

/* USER CODE END 4 */

void Error_Handler(void)
{
  __disable_irq();
  while (1)
  {
  }
}
